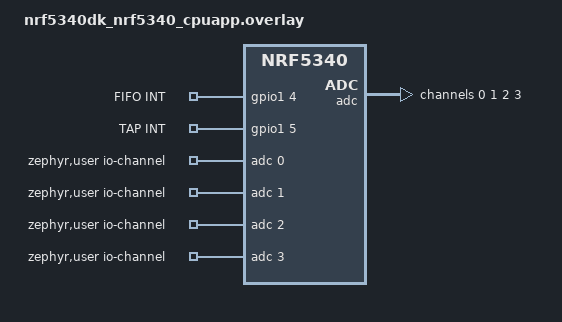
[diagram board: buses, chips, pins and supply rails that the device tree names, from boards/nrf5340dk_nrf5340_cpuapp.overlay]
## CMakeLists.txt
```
#
# Copyright (c) 2018 Nordic Semiconductor
#
# SPDX-License-Identifier: LicenseRef-Nordic-5-Clause
#
cmake_minimum_required(VERSION 3.20.0)

find_package(Zephyr REQUIRED HINTS $ENV{ZEPHYR_BASE})
project(imu_adc_led_ble_nus)

# NORDIC SDK APP START
target_sources(app PRIVATE
  src/main.c
  src/lsm6dsv16x_reg.c
  src/lis2mdl_reg.c
  src/imu_sensor.c
  src/analog_sensor.c
  src/ble_nus_cmd.c
)
# NORDIC SDK APP END

zephyr_library_include_directories(.)
```

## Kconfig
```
#
# Copyright (c) 2024
#

source "Kconfig.zephyr"

#----------------------------------------------------------------------------#
menu "Log levels"

module = ANALOG_SENSOR
module-str = analog-sensor
source "subsys/logging/Kconfig.template.log_config"

module = IMU_SENSOR
module-str = imu-sensor
source "subsys/logging/Kconfig.template.log_config"

module = BLE_NUS_CMD
module-str = ble-nus-cmd
source "subsys/logging/Kconfig.template.log_config"

module = IMU_LED_BLE
module-str = imu-led-ble
source "subsys/logging/Kconfig.template.log_config"



endmenu # Log levels
```

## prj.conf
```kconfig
#
# Copyright (c) 2024
#

# Disable the serial driver
CONFIG_SERIAL=n

# Enable GPIO, I2C and ADC
CONFIG_GPIO=y
CONFIG_I2C=y
CONFIG_ADC=y
CONFIG_PM_DEVICE=y

# Support for FLOAT
CONFIG_PICOLIBC_IO_FLOAT=y

# BLE configuration
CONFIG_BT=y
CONFIG_BT_SMP=y
CONFIG_BT_PERIPHERAL=y
CONFIG_BT_DEVICE_NAME="IMU_ADC_LED"
CONFIG_BT_DEVICE_APPEARANCE=833
CONFIG_BT_MAX_CONN=1
CONFIG_BT_MAX_PAIRED=1

# Enable the NUS service
CONFIG_BT_NUS=y

CONFIG_BT_CONN_TX_MAX=10
CONFIG_BT_L2CAP_TX_BUF_COUNT=10
CONFIG_BT_L2CAP_TX_MTU=498
CONFIG_BT_BUF_ACL_TX_COUNT=10
CONFIG_BT_BUF_ACL_TX_SIZE=502
CONFIG_BT_BUF_ACL_RX_SIZE=502
CONFIG_BT_PRIVACY=y
CONFIG_BT_GAP_AUTO_UPDATE_CONN_PARAMS=n
CONFIG_BT_CTLR_DATA_LENGTH_MAX=251
CONFIG_BT_CONN_PARAM_UPDATE_TIMEOUT=300
CONFIG_BT_USER_PHY_UPDATE=y
CONFIG_BT_GATT_CLIENT=y
CONFIG_BT_USER_DATA_LEN_UPDATE=y
CONFIG_BT_SMP_ALLOW_UNAUTH_OVERWRITE=y
CONFIG_BT_ID_UNPAIR_MATCHING_BONDS=y

# Enable bonding
CONFIG_BT_SETTINGS=y
CONFIG_FLASH=y
CONFIG_FLASH_PAGE_LAYOUT=y
CONFIG_FLASH_MAP=y
CONFIG_NVS=y
CONFIG_SETTINGS=y

# BLE uses ECB peripheral directly
CONFIG_CRYPTO=n
CONFIG_CRYPTO_NRF_ECB=n

# Enable DK LED and Buttons library
CONFIG_DK_LIBRARY=y

# This example requires more stack
CONFIG_MAIN_STACK_SIZE=1152
CONFIG_SYSTEM_WORKQUEUE_STACK_SIZE=2048
CONFIG_HEAP_MEM_POOL_SIZE=2048

# For test only, remove it later
CONFIG_TEST_RANDOM_GENERATOR=y
```

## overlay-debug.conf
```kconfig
#
# Copyright (c) 2024
#
# Debug configuration

# Logging
CONFIG_LOG=y
CONFIG_LOG_MODE_DEFERRED=n
CONFIG_LOG_MODE_IMMEDIATE=y
CONFIG_USE_SEGGER_RTT=y
CONFIG_CONSOLE=y
CONFIG_UART_CONSOLE=n
CONFIG_RTT_CONSOLE=y
CONFIG_LOG_BACKEND_RTT=y
CONFIG_LOG_BACKEND_UART=n
CONFIG_LOG_PRINTK=n

# Troubleshooting
CONFIG_ASSERT=y
CONFIG_RESET_ON_FATAL_ERROR=n
```

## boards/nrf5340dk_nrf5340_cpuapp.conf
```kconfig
#
# Copyright (c) 2024
#
################################################################################
# Application overlay - DFU

CONFIG_NCS_SAMPLE_MCUMGR_BT_OTA_DFU=y

CONFIG_SYSTEM_WORKQUEUE_STACK_SIZE=4096

################################################################################
```

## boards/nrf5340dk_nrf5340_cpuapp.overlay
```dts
/*
 * Copyright (c) 2024
 */
 
/ {
	aliases {
		fifo-int = &lsm6dsvint1;
		tap-int  = &lsm6dsvint2;		
	};
}; 

/ {
	lsm6dsv_int {
		compatible = "gpio-keys";
		lsm6dsvint1: lsm6dsv_int1 {
			gpios = <&gpio1 4 (GPIO_PULL_DOWN | GPIO_ACTIVE_HIGH)>;
			label = "FIFO INT";			
		};
		lsm6dsvint2: lsm6dsv_int2 {
			gpios = <&gpio1 5 (GPIO_PULL_DOWN | GPIO_ACTIVE_HIGH)>;
			label = "TAP INT";			
		};		
	};
};	

/ {
	zephyr,user {
		io-channels = <&adc 0>, <&adc 1>, <&adc 2>, <&adc 3>;
	};
};

&adc {
	#address-cells = <1>;
	#size-cells = <0>;

	channel@0 {
		reg = <0>;
		zephyr,gain = "ADC_GAIN_1_6";
		zephyr,reference = "ADC_REF_INTERNAL";
		zephyr,acquisition-time = <ADC_ACQ_TIME_DEFAULT>;
		zephyr,input-positive = <NRF_SAADC_AIN0>; /* P0.04 */
		zephyr,resolution = <12>;
	};

	channel@1 {
		reg = <1>;
		zephyr,gain = "ADC_GAIN_1_6";
		zephyr,reference = "ADC_REF_INTERNAL";
		zephyr,acquisition-time = <ADC_ACQ_TIME_DEFAULT>;
		zephyr,input-positive = <NRF_SAADC_AIN1>; /* P0.05 */
		zephyr,resolution = <12>;		
	};

	channel@2 {
		reg = <2>;
		zephyr,gain = "ADC_GAIN_1_6";
		zephyr,reference = "ADC_REF_INTERNAL";
		zephyr,acquisition-time = <ADC_ACQ_TIME_DEFAULT>;
		zephyr,input-positive = <NRF_SAADC_AIN2>; /* P0.06 */
		zephyr,resolution = <12>;
	};

	channel@3 {
		reg = <3>;
		zephyr,gain = "ADC_GAIN_1_6";
		zephyr,reference = "ADC_REF_INTERNAL";
		zephyr,acquisition-time = <ADC_ACQ_TIME_DEFAULT>;
		zephyr,input-positive = <NRF_SAADC_AIN3>; /* P0.07 */
		zephyr,resolution = <12>;		
	};
};
```

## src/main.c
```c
/*
 * Copyright (c) 2024
 */

/** @file
 *  @brief Application does the following
 *         - detect IMU sensor events, 
 *         - sample and process analog signals
 *         - control leds on board via BLE commands
 *         - configure imu on board via BLE commands
 *         - Send imu sensor events with raw data, analog signals raw data, led status 
 */


#include <zephyr/types.h>
#include <zephyr/kernel.h>
#include <zephyr/device.h>
#include <zephyr/devicetree.h>
#include <zephyr/sys/util_macro.h>
#include <zephyr/sys/__assert.h>
#include <soc.h>
#include <stdio.h>
#include <zephyr/drivers/gpio.h>
#include <dk_buttons_and_leds.h>

#include "ble_nus_cmd.h"
#include "imu_sensor.h"
#include "analog_sensor.h"


#include <zephyr/logging/log.h>
LOG_MODULE_REGISTER(imu_led_ble, CONFIG_IMU_LED_BLE_LOG_LEVEL);

// Set it to 1 to test without IMU sensor
#define IMU_SIMULATION             0

#if IMU_SIMULATION
#include <zephyr/random/rand32.h>
#endif


/* Private macro -------------------------------------------------------------*/
#if IMU_SIMULATION
/* IMU sensor interrupts mask */
#define IMU_SENSOR_INT1            DK_BTN1_MSK
#define IMU_SENSOR_INT2            DK_BTN2_MSK
#else
	
/*
 * Get interrupt configuration from the devicetree alias. This is mandatory.
 */
#define FIFO_INT	DT_ALIAS(fifo_int)
#if !DT_NODE_HAS_STATUS(FIFO_INT, okay)
#error "Unsupported board: fifo-int devicetree alias is not defined"
#endif

#define TAP_INT	DT_ALIAS(tap_int)
#if !DT_NODE_HAS_STATUS(TAP_INT, okay)
#error "Unsupported board: tap-int devicetree alias is not defined"
#endif

static const struct gpio_dt_spec fifo_int = GPIO_DT_SPEC_GET_OR(FIFO_INT, gpios, {0});
static struct gpio_callback fifo_int_cb_data;

static const struct gpio_dt_spec tap_int = GPIO_DT_SPEC_GET_OR(TAP_INT, gpios, {0});
static struct gpio_callback tap_int_cb_data;

#endif


// Analog signals are sampled at 100 Hz, which would be 10 milli seconds
#define ANALOG_SAMPLE_INTERVAL         10 // change it to 10 after IMU tests

/* command that will turn on/off led. 
 * command syntax --> led:1111 will turn on all leds
 * command syntax --> led:0000 will turn off all leds 
 * command syntax --> led:0101 will turn on leds 1 and 3 and turn off leds 2 and 4
 * command syntax --> led:1010 will turn on leds 2 and 4 and turn off leds 1 and 3
*/
#define COMMAND_LED               "led:"
#define LED_CMD_LEN                4

/* command that will configure tap. */
#define COMMAND_TAP               "tap:"
#define TAP_CMD_LEN                16

/* Private variables ---------------------------------------------------------*/
static bool led_state[LED_CMD_LEN];

static int16_t *datax;
static int16_t *datay;
static int16_t *dataz;
static int32_t *ts;

static uint16_t adc_raw[4];


static uint8_t tx_ble_buffer[CONFIG_BT_L2CAP_TX_MTU];

static uint8_t led_cmd_data[LED_CMD_LEN];
static uint8_t tap_cmd_data[TAP_CMD_LEN];

static void analog_sample_work_handler(struct k_work *work);
static void imu_tap_detected_work_handler(struct k_work *work);
static void imu_data_ready_work_handler(struct k_work *work);

static K_WORK_DELAYABLE_DEFINE(analog_sample_work, analog_sample_work_handler);
static K_WORK_DEFINE(imu_tap_detected_work, imu_tap_detected_work_handler);
static K_WORK_DEFINE(imu_data_ready_work, imu_data_ready_work_handler);

void error(void)
{
	__ASSERT_NO_MSG(NULL);
}



static void led_cmd(struct k_work *item)
{
	int ret;
	struct nus_entry *nus_cmd = CONTAINER_OF(item, struct nus_entry, work);
	
	memset(tx_ble_buffer, 0, sizeof(tx_ble_buffer));  
	
	if(strlen(nus_cmd->cmd_data) != LED_CMD_LEN) {
		
		sprintf((char *)tx_ble_buffer, "Invalid command length\r\n");
		goto tx_ble;	
		
	} else {
		
		if(((nus_cmd->cmd_data[0] != '0') && (nus_cmd->cmd_data[0] != '1')) ||
		   ((nus_cmd->cmd_data[1] != '0') && (nus_cmd->cmd_data[1] != '1')) ||
		   ((nus_cmd->cmd_data[2] != '0') && (nus_cmd->cmd_data[2] != '1')) ||
		   ((nus_cmd->cmd_data[3] != '0') && (nus_cmd->cmd_data[3] != '1'))) {
			   
		    sprintf((char *)tx_ble_buffer, "Invalid command argument\r\n");
		    goto tx_ble;
			
		} else {
			
			for(uint8_t idx = 0; idx < LED_CMD_LEN; idx++) {
				
				if((nus_cmd->cmd_data[idx] == '0')) {
					ret = dk_set_led_off(idx);
					if(ret) {
						LOG_ERR("Cannot turn off led%d (err: %d)", idx, ret);
						break;
					} else {
						led_state[idx] = false;	
					}
				} else {
					ret = dk_set_led_on(idx);
					if(ret) {
						LOG_ERR("Cannot turn on led%d (err: %d)", idx, ret);
						break;
					} else {
						led_state[idx] = true;	
					}
				}
				
			}
			
			if(ret == 0) {
				sprintf((char *)tx_ble_buffer, "LED command success\r\n");
			} else {
				sprintf((char *)tx_ble_buffer, "LED command failure\r\n");
			}
		    		
		}
	}
				
	
tx_ble:
	LOG_INF("BLE Tx data : %s", tx_ble_buffer);	
		
	ret = ble_send(tx_ble_buffer, strlen(tx_ble_buffer));
	if (ret) {
		LOG_ERR("Cannot send led command status via BLE");	
	}		
		
}



static void tap_cmd(struct k_work *item)
{
	ARG_UNUSED(item);
	
}

static struct nus_entry commands[] = {
	NUS_COMMAND(COMMAND_LED, led_cmd_data, led_cmd),	
	NUS_COMMAND(COMMAND_TAP, tap_cmd_data, tap_cmd),
	NUS_COMMAND(NULL, NULL, NULL),
};


static void analog_sample_work_handler(struct k_work *work)
{
	int ret = 0;
	
	
	/* Start ADC */
	ret = analog_read();
	if (ret) {
		LOG_ERR("Cannot read analog signals(err: %d)", ret);		
	} else {
		for(uint8_t i = 0; i < 4; i++) {
			ret = analog_get_raw(i, &adc_raw[i]);
			if (ret) {
				LOG_ERR("Cannot get raw analog values(err: %d)", ret);
				break;
			}
		}
	}
	
	
		
	if(!ret) {		
			
		memset(tx_ble_buffer, 0, sizeof(tx_ble_buffer));  
		sprintf((char *)tx_ble_buffer, "ADC:A1=%d,A2=%d,A3=%d,A4=%d\r\nLED:L1=%d,L2=%d,L3=%d,L4=%d\r\n",
      	adc_raw[0],adc_raw[1],adc_raw[2],adc_raw[3],led_state[0],led_state[1],led_state[2],led_state[3]);
				
		LOG_INF("BLE Tx data : %s", tx_ble_buffer);	
			
		ret = ble_send(tx_ble_buffer, strlen(tx_ble_buffer));	
		if (ret) {
			LOG_ERR("Cannot send ADC/LED data via BLE");	
		}		
	}

	k_work_reschedule(k_work_delayable_from_work(work), K_MSEC(ANALOG_SAMPLE_INTERVAL));
}


static void on_nus_connect(struct k_work *item)
{
	ARG_UNUSED(item);	

	
	
#if !(IMU_SIMULATION)

	gpio_pin_interrupt_configure_dt(&tap_int, GPIO_INT_EDGE_TO_ACTIVE);
	gpio_pin_interrupt_configure_dt(&fifo_int, GPIO_INT_EDGE_TO_ACTIVE);
	

	/* IMU out of low power mode */
	int ret = imu_set_low_power(false);
	if (ret) {
		LOG_ERR("Cannot get IMU out of low power(err: %d)", ret);		
	}
#endif	
	
	
	/* Schedule analog signal processing */
	k_work_schedule(&analog_sample_work, K_MSEC(ANALOG_SAMPLE_INTERVAL));
		
}

static void on_nus_disconnect(struct k_work *item)
{
	ARG_UNUSED(item);

	
#if !(IMU_SIMULATION)
	/* set IMU in low power mode */
	int ret = imu_set_low_power(true);
	if (ret) {
		LOG_ERR("Cannot put IMU in low power(err: %d)", ret);		
	}
	
	gpio_pin_interrupt_configure_dt(&fifo_int, GPIO_INT_DISABLE);
	gpio_pin_interrupt_configure_dt(&tap_int, GPIO_INT_DISABLE);
	
#endif	

	/* cancel analog signal processing */
	k_work_cancel_delayable(&analog_sample_work);

		
}

static void imu_tap_detected_work_handler(struct k_work *work)
{
  ARG_UNUSED(work);
  int ret = 0;
  lsm6dsv16x_all_sources_t status;

  /* cancel analog signal processing */
  k_work_cancel_delayable(&analog_sample_work);

  #if !(IMU_SIMULATION)
  /* Read output only if new xl value is available */
  ret = lsm6dsv16x_all_sources_get(&lsm6dsv16x_ctx, &status);
  if (ret) {
	LOG_ERR("Cannot get interrupt source(err: %d)", ret);	
  } else 
  #else
  static bool test_tap = true;	  
  if(test_tap) {
	status.single_tap = 1;
	status.double_tap = 0;
	test_tap = false;
  } else {
	status.single_tap = 0;  
	status.double_tap = 1;
	test_tap = true;
  }
  #endif
  
  {
	  
	memset(tx_ble_buffer, 0, sizeof(tx_ble_buffer));

	if (status.single_tap) {
		sprintf((char *)tx_ble_buffer, "TAP:Single\r\n");
	}
	if (status.double_tap) {
		sprintf((char *)tx_ble_buffer, "TAP:Double\r\n");
	}
	 	  
	LOG_INF("BLE Tx data : %s", tx_ble_buffer);	
	 	  
	ret = ble_send(tx_ble_buffer, strlen(tx_ble_buffer));
	if (ret) {
		LOG_ERR("Cannot send TAP data via BLE(err: %d)", ret);	
	}
	  
  }
  	  
  #if !(IMU_SIMULATION)  
  gpio_pin_interrupt_configure_dt(&tap_int, GPIO_INT_EDGE_TO_ACTIVE);
  #endif
  
  /* Schedule analog signal processing */
  k_work_schedule(&analog_sample_work, K_MSEC(0));
  
  
}

static void imu_data_ready_work_handler(struct k_work *work)
{
  ARG_UNUSED(work);
  int ret = 0;
  uint16_t num = 0;
  lsm6dsv16x_fifo_status_t fifo_status;
  bool tx_data = false;
  
  static bool what_the_tap = true;
  lsm6dsv16x_all_sources_t status;
  if(what_the_tap) {
	  what_the_tap = false;
	  lsm6dsv16x_all_sources_get(&lsm6dsv16x_ctx, &status);
  }
  
  
  /* cancel analog signal processing */
  k_work_cancel_delayable(&analog_sample_work);

#if !(IMU_SIMULATION)
  /* Read watermark flag */
  ret = lsm6dsv16x_fifo_status_get(&lsm6dsv16x_ctx, &fifo_status);
  if (ret) {
	LOG_ERR("Cannot get FIFO status(err: %d)", ret);	
  } else 
#else
  fifo_status.fifo_level = 16;
#endif	

  {
	num = fifo_status.fifo_level;
	LOG_INF("FIFO num: %d", num);
	    
	memset(tx_ble_buffer, 0, sizeof(tx_ble_buffer));

	while (num--) {
		lsm6dsv16x_fifo_out_raw_t f_data;

		#if !(IMU_SIMULATION)
		/* Read FIFO sensor value */
		ret = lsm6dsv16x_fifo_out_raw_get(&lsm6dsv16x_ctx, &f_data);
		if (ret) {
			LOG_ERR("Cannot get FIFO raw data for the fifo entry %d (err: %d)", (num + 1), ret);		
		}
		#else
		size_t data_length = 6;
		uint8_t idx = 0;
		
		idx = ((num + 1) % 4);
		if(idx== 0) {
			f_data.tag = LSM6DSV16X_TIMESTAMP_TAG;	
			data_length = 4;
		} else if(idx== 3) {
			f_data.tag = LSM6DSV16X_XL_NC_TAG;
		} else if(idx== 2) {
			f_data.tag = LSM6DSV16X_GY_NC_TAG;
		} else {
			f_data.tag = LSM6DSV16X_SENSORHUB_SLAVE0_TAG;
		}
		
		sys_rand_get(&f_data.data[0], data_length);	
		#endif
			
		datax = (int16_t *)&f_data.data[0];
		datay = (int16_t *)&f_data.data[2];
		dataz = (int16_t *)&f_data.data[4];
		ts = (int32_t *)&f_data.data[0];
		
		LOG_INF("TAG %02x", f_data.tag);  

		switch (f_data.tag) {
		case LSM6DSV16X_XL_NC_TAG:
		  #if 1
		  sprintf((char *)&tx_ble_buffer[strlen(tx_ble_buffer)], "ACC[mg]:x:%4.2f,y:%4.2f,z:%4.2f,",
				  lsm6dsv16x_from_fs2_to_mg(*datax),
				  lsm6dsv16x_from_fs2_to_mg(*datay),
				  lsm6dsv16x_from_fs2_to_mg(*dataz));    
		  #else
		  sprintf((char *)&tx_ble_buffer[strlen(tx_ble_buffer)], "ACC:x:%d,y:%d,z:%d,",
				  *datax,*datay,*dataz);  
		  #endif
		  break;
		case LSM6DSV16X_GY_NC_TAG:
		  #if 1
		  sprintf((char *)&tx_ble_buffer[strlen(tx_ble_buffer)], "GYRO[mdps]:x:%4.2f,y:%4.2f,z:%4.2f,",
				  lsm6dsv16x_from_fs2000_to_mdps(*datax),
				  lsm6dsv16x_from_fs2000_to_mdps(*datay),
				  lsm6dsv16x_from_fs2000_to_mdps(*dataz));	
		  #else
		  sprintf((char *)&tx_ble_buffer[strlen(tx_ble_buffer)], "GYRO:x:%d,y:%d,z:%d,",
				  *datax,*datay,*dataz); 	  
		  #endif			  
		  break;  
		case LSM6DSV16X_TIMESTAMP_TAG:	  
		  sprintf((char *)tx_ble_buffer, "T[ms]:%d,", *ts);
		  break;
		case LSM6DSV16X_SENSORHUB_SLAVE0_TAG:
		  #if 1
		  sprintf((char *)&tx_ble_buffer[strlen(tx_ble_buffer)], "LIS2MDL[mGa]:x:%4.2f,y:%4.2f,z:%4.2f\r\n",
				  lis2mdl_from_lsb_to_mgauss(*datax),
				  lis2mdl_from_lsb_to_mgauss(*datay),
				  lis2mdl_from_lsb_to_mgauss(*dataz));	
		  #else
		  sprintf((char *)&tx_ble_buffer[strlen(tx_ble_buffer)], "MAG:x:%d,y:%d,z:%d\r\n",
				  *datax,*datay,*dataz);  		  
		  #endif	

		  tx_data = true;	  
		  break;
	  
		default:
		  LOG_ERR("Invalid TAG %02x", f_data.tag);  
		  break;
		}
		
		if(tx_data) {	
		
			tx_data = false;		
			LOG_INF("BLE Tx data : %s", tx_ble_buffer);				  
		  
			ret = ble_send(tx_ble_buffer, strlen((char const *)tx_ble_buffer));
			if (ret) {
				LOG_ERR("Cannot send IMU data via BLE");	            
			}
						
			memset(tx_ble_buffer, 0, sizeof(tx_ble_buffer));				
		}
			
	}
  }

#if !(IMU_SIMULATION)  
  imu_enable_fifo_mode();  
  gpio_pin_interrupt_configure_dt(&fifo_int, GPIO_INT_EDGE_TO_ACTIVE);
#endif
  
  /* Schedule analog signal processing */
  k_work_schedule(&analog_sample_work, K_MSEC(0));
          
}

#if (IMU_SIMULATION)
void button_interrupt_handler(uint32_t interrupt_state, uint32_t has_changed)
{
	if (IMU_SENSOR_INT1 & has_changed) {
		if (IMU_SENSOR_INT1 & interrupt_state) {
			/* Interrupt 1 low */
			/* Submit IMU data ready work */					
			k_work_submit(&imu_data_ready_work);
		} 		
	}
	
	if (IMU_SENSOR_INT2 & has_changed) {
		if (IMU_SENSOR_INT2 & interrupt_state) {
			/* Interrupt 2 low */			
			/* Submit IMU tap detection work */			
			k_work_submit(&imu_tap_detected_work);
		}
	}
	
}	
#else
static void fifo_int_callback(const struct device *dev, struct gpio_callback *cb, uint32_t pins)
{

	ARG_UNUSED(dev);
	ARG_UNUSED(cb);
	ARG_UNUSED(pins);

	gpio_pin_interrupt_configure_dt(&fifo_int, GPIO_INT_DISABLE);

	/* Submit IMU data ready work */					
	k_work_submit(&imu_data_ready_work);
}

static void tap_int_callback(const struct device *dev, struct gpio_callback *cb, uint32_t pins)
{

	ARG_UNUSED(dev);
	ARG_UNUSED(cb);
	ARG_UNUSED(pins);


	gpio_pin_interrupt_configure_dt(&tap_int, GPIO_INT_DISABLE);


	/* Submit IMU tap detection work */			
	k_work_submit(&imu_tap_detected_work);
}	



int imu_interrupts_init(void)
{
	int ret;
	
	/* setup FIFO gpio interrupt (INT1) */
	if (!gpio_is_ready_dt(&fifo_int)) {
		LOG_ERR("Cannot get pointer to fifo_int device");
		return -EINVAL;
	}

	ret = gpio_pin_configure_dt(&fifo_int, GPIO_INPUT);
	if (ret < 0) {
		LOG_ERR("Could not configure fifo_int pin");
		return ret;
	}
	
	ret =  gpio_pin_interrupt_configure_dt(&fifo_int, GPIO_INT_EDGE_TO_ACTIVE);
	if (ret < 0) {
		LOG_ERR("Could not configure fifo_int");
		return ret;
	}

	gpio_init_callback(&fifo_int_cb_data, fifo_int_callback,  BIT(fifo_int.pin));
	if (gpio_add_callback(fifo_int.port, &fifo_int_cb_data) < 0) {
		LOG_ERR("Could not set FIFO gpio callback");
		return -EIO;
	}
	
	/* setup TAP gpio interrupt (INT2) */
	if (!gpio_is_ready_dt(&tap_int)) {
		LOG_ERR("Cannot get pointer to tap_int device");
		return -EINVAL;
	}

	ret = gpio_pin_configure_dt(&tap_int, GPIO_INPUT);
	if (ret < 0) {
		LOG_ERR("Could not configure tap_int pin");
		return ret;
	}
	
	ret =  gpio_pin_interrupt_configure_dt(&tap_int, GPIO_INT_EDGE_TO_ACTIVE);
	if (ret < 0) {
		LOG_ERR("Could not configure tap_int");
		return ret;
	}

	gpio_init_callback(&tap_int_cb_data, tap_int_callback,  BIT(tap_int.pin));
	if (gpio_add_callback(tap_int.port, &tap_int_cb_data) < 0) {
		LOG_ERR("Could not set TAP gpio callback");
		return -EIO;
	}
	
	return ret;
	
}
#endif

int main(void)
{

	int err = 0;

	/* Initialize LEDs */
	err = dk_leds_init();
	if (err) {
		LOG_ERR("Cannot init LEDs (err: %d)", err);
		error();
	}
	
	#if (IMU_SIMULATION)
	/* Reuse DK button library to handle IMU sensor interrupts */
	err = dk_buttons_init(button_interrupt_handler);	
	#else
	err = imu_interrupts_init();	
	#endif
	if (err) {
		LOG_ERR("Cannot init IMU interrupts (err: %d)", err);
		error();
	}

		

#if !(IMU_SIMULATION)
	/* Initialize IMU sensor */
	err = imu_init();
	if (err) {
		error();
	}
#endif
	
	/* Initialize ADC to sample and process analog signals */
	err = analog_init();
	if (err) {
		error();
	}

	
	
#if !(IMU_SIMULATION)
	/* Set IMU in low power mode */
	err = imu_set_low_power(true);
	if (err) {
		error();
	}

	gpio_pin_interrupt_configure_dt(&fifo_int, GPIO_INT_DISABLE);
	gpio_pin_interrupt_configure_dt(&tap_int, GPIO_INT_DISABLE);
#endif

	/* Initialize NUS command service. */
	err = nus_cmd_init(on_nus_connect, on_nus_disconnect, commands);
	if (err) {
		error();
	}

	LOG_INF("Firmware Init status OK");
	
   /* Sleep forver */
	while (1) {
		k_sleep(K_FOREVER);
	}
}

	
```

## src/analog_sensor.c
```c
/*
 * Copyright (c) 2024
 */
 
#include <inttypes.h>
#include <stddef.h>
#include <stdint.h>

#include <zephyr/device.h>
#include <zephyr/devicetree.h>
#include <zephyr/drivers/adc.h>
#include <zephyr/kernel.h>
#include <zephyr/sys/printk.h>
#include <zephyr/sys/util.h>

#include "analog_sensor.h"

#include <zephyr/logging/log.h>
LOG_MODULE_REGISTER(analog_sensor, CONFIG_ANALOG_SENSOR_LOG_LEVEL);


#if !DT_NODE_EXISTS(DT_PATH(zephyr_user)) || \
	!DT_NODE_HAS_PROP(DT_PATH(zephyr_user), io_channels)
#error "No suitable devicetree overlay specified"
#endif

#define DT_SPEC_AND_COMMA(node_id, prop, idx) \
	ADC_DT_SPEC_GET_BY_IDX(node_id, idx),

/* Data of ADC io-channels specified in devicetree. */
static const struct adc_dt_spec adc_channels[] = {
	DT_FOREACH_PROP_ELEM(DT_PATH(zephyr_user), io_channels,
			     DT_SPEC_AND_COMMA)
};

static uint16_t adc_raw_channel[ARRAY_SIZE(adc_channels)];

int analog_init(void)
{
	int err;
	
	/* Configure channels individually prior to sampling. */
	for (size_t i = 0U; i < ARRAY_SIZE(adc_channels); i++) {
		if (!adc_is_ready_dt(&adc_channels[i])) {
			LOG_ERR("ADC controller device %s not ready", adc_channels[i].dev->name);
			return -ENODEV;
		}

		err = adc_channel_setup_dt(&adc_channels[i]);
		if (err < 0) {
			LOG_ERR("Could not setup channel #%d (%d)", i, err);
			return err;
		}
	}

	
	return 0;
}


int analog_read(void)
{
	int err;
	uint16_t buf;
	struct adc_sequence sequence = {
		.buffer = &buf,
		/* buffer size in bytes, not number of samples */
		.buffer_size = sizeof(buf),
	};
	
	LOG_INF("ADC reading");
	for (size_t i = 0U; i < ARRAY_SIZE(adc_channels); i++) {
		

		LOG_INF("- %s, channel %d: ",
			   adc_channels[i].dev->name,
			   adc_channels[i].channel_id);

		(void)adc_sequence_init_dt(&adc_channels[i], &sequence);

		err = adc_read(adc_channels[i].dev, &sequence);
		if (err < 0) {
			LOG_ERR("Could not read (%d)", err);
			break;
		} else {		
			adc_raw_channel[i] = buf;
			LOG_INF("raw %u", adc_raw_channel[i]);
		}
	}
		
	return err;

}

int analog_get_raw(uint16_t channel_idx, uint16_t *data_raw)
{
	int err = 0; 
	
	if((channel_idx >= 0) && (channel_idx <= 3)) {		
		*data_raw =  adc_raw_channel[channel_idx];
	} else {
		LOG_ERR("Invalid channel index");
		*data_raw = 0;
		err = -EINVAL;
	}
	
	return err;
}
```

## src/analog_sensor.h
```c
/*
 * Copyright (c) 2024
 */

/**
 * @file analog_sensor.h
 *
 * @brief APIs for Analog Sensor.
 */

#ifndef __ANALOG_SENSOR_H__
#define __ANALOG_SENSOR_H__



/**@brief Function to initialise ADC.
 *
 * @param[out] 0 if success, error code otherwise.
 */
int analog_init(void);

/**@brief Function to read Analog signals.
 *
 * @param[out] 0 if success, error code otherwise.
 */
int analog_read(void);

/**@brief Function to read Analog signals.
 *
 * @param[in] channel_idx data to be transmitted over BLE.
 * @param[in] data_raw length of BLE data.
 * @param[out] 0 if success, error code otherwise.
 */

int analog_get_raw(uint16_t channel_idx, uint16_t *data_raw);

#endif
```

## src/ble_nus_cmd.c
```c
/*
 * Copyright (c) 2024
 */
 
#include <zephyr/kernel.h>
#include <zephyr/bluetooth/gatt.h>
#include <zephyr/bluetooth/hci.h>
#include <zephyr/bluetooth/uuid.h>
#include <bluetooth/services/nus.h>
#include <zephyr/logging/log.h>
#include <zephyr/settings/settings.h>

#include "ble_nus_cmd.h"

#include <zephyr/logging/log.h>
LOG_MODULE_REGISTER(ble_nus_cmd, CONFIG_BLE_NUS_CMD_LOG_LEVEL);

#define DEVICE_NAME        CONFIG_BT_DEVICE_NAME
#define DEVICE_NAME_LEN    (sizeof(DEVICE_NAME) - 1)


#define INTERVAL_MIN  15 
#define INTERVAL_MAX  15 



static void connected(struct bt_conn *conn, uint8_t err);
static void disconnected(struct bt_conn *conn, uint8_t reason);
static void le_phy_updated(struct bt_conn *conn, struct bt_conn_le_phy_info *param);
static void conn_params_updated(struct bt_conn *conn, uint16_t interval, uint16_t latency, uint16_t timeout);
static void le_data_length_updated(struct bt_conn *conn, struct bt_conn_le_data_len_info *info);
static void auth_passkey_display(struct bt_conn *conn, unsigned int passkey);
static void auth_cancel(struct bt_conn *conn);
static void pairing_complete(struct bt_conn *conn, bool bonded);
static void pairing_failed(struct bt_conn *conn, enum bt_security_err reason);
static void __attribute__((unused))
security_changed(struct bt_conn *conn, bt_security_t level,
		 enum bt_security_err err);

static struct bt_conn_auth_cb conn_auth_callbacks = {
	.passkey_display = auth_passkey_display,
	.cancel = auth_cancel,
};

static struct bt_conn_auth_info_cb conn_auth_info_callbacks = {
	.pairing_complete = pairing_complete,
	.pairing_failed = pairing_failed
};

static struct bt_conn_cb conn_callbacks = {
	.connected = connected,
	.disconnected = disconnected,
	.le_param_updated= conn_params_updated,
	.le_phy_updated = le_phy_updated,
	.le_data_len_updated = le_data_length_updated,
	COND_CODE_1(CONFIG_BT_SMP, (.security_changed = security_changed), ())
};

static const struct bt_data ad[] = {
	BT_DATA_BYTES(BT_DATA_FLAGS, (BT_LE_AD_GENERAL | BT_LE_AD_NO_BREDR)),
	BT_DATA(BT_DATA_NAME_COMPLETE, DEVICE_NAME, DEVICE_NAME_LEN),
};

static const struct bt_data sd[] = {
	BT_DATA_BYTES(BT_DATA_UUID128_ALL, BT_UUID_NUS_VAL),
};

static struct bt_le_conn_param *conn_param = BT_LE_CONN_PARAM(INTERVAL_MIN, INTERVAL_MAX, 0, 400);

static struct k_work on_connect_work;
static struct k_work on_disconnect_work;
static struct bt_conn *current_conn;
static struct nus_entry *nus_commands;

static uint8_t payload_length = 0;
static bool nus_cccd_enabled = false;
static bool conn_param_updated = false;


static const char *phy2str(uint8_t phy)
{
	switch (phy) {
	case 0: return "No packets";
	case BT_GAP_LE_PHY_1M: return "LE 1M";
	case BT_GAP_LE_PHY_2M: return "LE 2M";
	case BT_GAP_LE_PHY_CODED: return "LE Coded";
	default: return "Unknown";
	}
}

static int update_connection_parameters(void)
{	
	int err;

	err = bt_conn_le_param_update(current_conn, conn_param);
	if (err) {
		LOG_ERR("Cannot update conneciton parameter (err: %d)", err);
		return err;
	}

	LOG_INF("Connection parameters update requested");
	return 0;
}


static void conn_params_updated(struct bt_conn *conn, uint16_t interval, uint16_t latency, uint16_t timeout)
{
	uint32_t interval_int = interval*1.25;
	LOG_INF("Conn params updated: interval %d ms, latency %d, timeout: %d0 ms",interval_int, latency, timeout);

	if (interval== INTERVAL_MIN) 
	{
		conn_param_updated = true;
	}
}

static void le_data_length_updated(struct bt_conn *conn,
				   struct bt_conn_le_data_len_info *info)
{
	LOG_INF("LE data len updated: TX (len: %d time: %d)"
	       " RX (len: %d time: %d)\n", info->tx_max_len,
	       info->tx_max_time, info->rx_max_len, info->rx_max_time);
	

}


static void MTU_exchange_cb(struct bt_conn *conn, uint8_t err, struct bt_gatt_exchange_params *params)
{
	if (!err) {
		LOG_INF("MTU exchange done. "); 
		payload_length = bt_gatt_get_mtu(current_conn)-3; //3 bytes ATT header
		LOG_WRN("MTU payload allowed %d", payload_length);
	} else {
		LOG_WRN("MTU exchange failed (err %" PRIu8 ")", err);
	}
}


static void request_mtu_exchange(void)
{	
	int err;
	static struct bt_gatt_exchange_params exchange_params;
	exchange_params.func = MTU_exchange_cb;

	err = bt_gatt_exchange_mtu(current_conn, &exchange_params);
	if (err) {
		LOG_WRN("MTU exchange failed (err %d)", err);
	} else {
		LOG_INF("MTU exchange pending");
	}	

}

static void request_data_len_update(void)
{
	int err;
	err = bt_conn_le_data_len_update(current_conn, BT_LE_DATA_LEN_PARAM_MAX);
	if (err) {
		LOG_ERR("LE data length update request failed: %d",  err);
	}
}


static void request_phy_update(void)
{
	int err;

	err = bt_conn_le_phy_update(current_conn, BT_CONN_LE_PHY_PARAM_2M);
		if (err) {
			LOG_ERR("Phy update request failed: %d",  err);
		}
}


static void le_phy_updated(struct bt_conn *conn,
			   struct bt_conn_le_phy_info *param)
{
	LOG_INF("LE PHY updated: TX PHY %s, RX PHY %s\n",
	       phy2str(param->tx_phy), phy2str(param->rx_phy));
}

static void connected(struct bt_conn *conn, uint8_t err)
{
	if (err) {
		LOG_ERR("Connection failed (err %u)", err);
		return;
	}

	LOG_INF("Connected");
	current_conn = bt_conn_ref(conn);
	
	// Delays added to avoid collision (in case the central also send request)
	// should be better with a state machine. 
	conn_param_updated = false;
	update_connection_parameters();
	k_sleep(K_MSEC(500));
	request_mtu_exchange();
	k_sleep(K_MSEC(500));
	request_data_len_update();
	k_sleep(K_MSEC(500));
	request_phy_update();

	k_work_submit(&on_connect_work);
}

static void disconnected(struct bt_conn *conn, uint8_t reason)
{
	LOG_INF("Disconnected (reason %u)", reason);

	if (current_conn) {
		bt_conn_unref(current_conn);
		current_conn = NULL;
		
		k_work_submit(&on_disconnect_work);
	}
	
	conn_param_updated = false;
}

static char *ble_addr(struct bt_conn *conn)
{
	static char addr[BT_ADDR_LE_STR_LEN];

	bt_addr_le_to_str(bt_conn_get_dst(conn), addr, sizeof(addr));

	return addr;
}

static void __attribute__((unused))
security_changed(struct bt_conn *conn, bt_security_t level,
		 enum bt_security_err err)
{
	char *addr = ble_addr(conn);

	if (!err) {
		LOG_INF("Security changed: %s level %u", addr, level);
	} else {
		LOG_INF("Security failed: %s level %u err %d", addr,
			level, err);
	}
}

static void auth_passkey_display(struct bt_conn *conn, unsigned int passkey)
{
	char *addr = ble_addr(conn);

	LOG_INF("Passkey for %s: %06u", addr, passkey);
}

static void auth_cancel(struct bt_conn *conn)
{
	char *addr = ble_addr(conn);

	LOG_INF("Pairing cancelled: %s", addr);
}

static void pairing_complete(struct bt_conn *conn, bool bonded)
{
	char *addr = ble_addr(conn);

	LOG_INF("Pairing completed: %s, bonded: %d", addr, bonded);
}

static void pairing_failed(struct bt_conn *conn, enum bt_security_err reason)
{
	char *addr = ble_addr(conn);

	LOG_INF("Pairing failed conn: %s, reason %d", addr, reason);
}

static int ble_utils_init(struct bt_nus_cb *nus_clbs,
			  nus_connection_cb_t on_connect,
			  nus_disconnection_cb_t on_disconnect)
{
	int ret;
	
	struct bt_le_adv_param *adv_param =
		BT_LE_ADV_PARAM(BT_LE_ADV_OPT_CONNECTABLE |
				BT_LE_ADV_OPT_USE_IDENTITY,
				BT_GAP_ADV_FAST_INT_MIN_2,
				BT_GAP_ADV_FAST_INT_MAX_2,
				NULL);
	
	k_work_init(&on_connect_work, on_connect);
	k_work_init(&on_disconnect_work, on_disconnect);

	bt_conn_cb_register(&conn_callbacks);

	if (IS_ENABLED(CONFIG_BT_SMP)) {
		ret = bt_conn_auth_cb_register(&conn_auth_callbacks);
		if (ret) {
			LOG_ERR("Failed to register authorization callbacks.");
			goto end;
		}

		ret = bt_conn_auth_info_cb_register(&conn_auth_info_callbacks);
		if (ret) {
			LOG_ERR("Failed to register authorization info callbacks.");
			goto end;
		}
	}

	ret = bt_enable(NULL);
	if (ret) {
		LOG_ERR("Bluetooth initialization failed (error: %d)", ret);
		goto end;
	}

	LOG_INF("Bluetooth initialized");

	if (IS_ENABLED(CONFIG_SETTINGS)) {
		settings_load();
	}

	ret = bt_nus_init(nus_clbs);
	if (ret) {
		LOG_ERR("Failed to initialize UART service (error: %d)", ret);
		goto end;
	}

	ret = bt_le_adv_start(adv_param, ad, ARRAY_SIZE(ad), sd,
			      ARRAY_SIZE(sd));
	if (ret) {
		LOG_ERR("Advertising failed to start (error: %d)", ret);
		goto end;
	}

end:
	return ret;
}

static void nus_command_handler(struct bt_conn *conn,
				const uint8_t *const data, uint16_t length)
{
	LOG_HEXDUMP_DBG(data, length, "NUS recv:");

	for (struct nus_entry *p = nus_commands; p->cmd != NULL; p++) {
		if ((length >= strlen(p->cmd)) &&
		    (!strncmp(p->cmd, (const char *)data, strlen(p->cmd)))) {
			LOG_INF("Matched cmd : %s", p->cmd);
			strcpy(p->cmd_data, (const char *)&data[strlen(p->cmd)]);
			LOG_INF("command data: %s", p->cmd_data);
			k_work_submit(&p->work);
			return;
		}
	}

	LOG_HEXDUMP_WRN(data, length, "Command unrecognized");
}

static void bt_send_enabled_cb(enum bt_nus_send_status status)
{
	if (status == BT_NUS_SEND_STATUS_ENABLED) 
	{
		nus_cccd_enabled = true;
		LOG_INF("CCCD enabled");
	}
	else{
		nus_cccd_enabled = false;
		LOG_INF("CCCD Disabled");
	}

}

int nus_cmd_init(nus_connection_cb_t on_connect,
		  nus_disconnection_cb_t on_disconnect,
		  struct nus_entry *command_set)
{
	int ret;
	
	struct bt_nus_cb nus_clbs = {
		.received = nus_command_handler,
		.send_enabled = bt_send_enabled_cb,
		.sent = NULL,
	};

	nus_commands = command_set;
	ret = ble_utils_init(&nus_clbs, on_connect, on_disconnect);;
	return ret;
}

int ble_send(uint8_t *buf, uint16_t len)
{
	int ret = 0;
	
	if((buf == NULL)  || (len == 0)) {
		LOG_ERR("Invalid buffer or buffer length");
		ret = -EINVAL;
		goto end;
	}
	
	if(nus_cccd_enabled) {
		
		if(conn_param_updated) {
			
			if(len > payload_length) {
				LOG_WRN("BLE data length %d exceeds allowed mtu length %d", len, payload_length);
				goto end;
			} else {
				LOG_WRN("BLE data length %d", len);
			}
			
			ret = bt_nus_send(NULL, buf, len);
			if (ret) {
				LOG_ERR("Failed to send data over BLE connection(error: %d)", ret);
				goto end;
			}
		} else {
			LOG_WRN("NUS Connection parameter not updated");
		}
		
	} else {
		LOG_WRN("NUS CCCD disabled");
	}
end:
	return ret;
}
```

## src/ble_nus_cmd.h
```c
/*
 * Copyright (c) 2024
 */

/**
 * @file ble_nus_cmd.h
 *
 * @brief APIs for BLE NUS Command Service.
 */

#ifndef __BLE_NUS_CMD_H__
#define __BLE_NUS_CMD_H__

/** @brief Type indicates function called when Bluetooth LE connection
 *         is established.
 *
 * @param[in] item pointer to work item.
 */
typedef void (*nus_connection_cb_t)(struct k_work *item);

/** @brief Type indicates function called when Bluetooth LE connection is ended.
 *
 * @param[in] item pointer to work item.
 */
typedef void (*nus_disconnection_cb_t)(struct k_work *item);


/** @brief BLE NUS command entry.
 */
struct nus_entry {
	const char *cmd;        /**< Command string. */
	char *cmd_data;         /**< Command data string. */
	struct k_work work;     /**< Command work item. */
};

/**@brief Macro to initialise (bind) command string to work handler.
 */
#define NUS_COMMAND(_cmd, _cmd_data, _handler)		      \
	{					                                  \
		.work = Z_WORK_INITIALIZER(_handler),             \
		.cmd = _cmd,			                          \
		.cmd_data = _cmd_data,			                  \
	}					                                  \

/**@brief Function to initialise NUS Command service.
 *
 * @param[in] on_connect Callback that will be called when central connects to
 *			 the NUS service.
 * @param[in] on_disconnect Callback that will be called when BLE central
 *			    disconnects from the NUS service. 
 * @param[in] command_set   A pointer to an array with NUS commands.
 * @param[out] 0 if success, error code otherwise.
 */
int nus_cmd_init(nus_connection_cb_t on_connect,
		  nus_disconnection_cb_t on_disconnect,
		  struct nus_entry *command_set);


/**@brief Function to send data over BLR NUS service.
 *
 * @param[in] buf data to be transmitted over BLE.
 * @param[in] len length of BLE data.
 * @param[out] 0 if success, error code otherwise.
 */		  
int ble_send(uint8_t *buf, uint16_t len);		  

#endif
```

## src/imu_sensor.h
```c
/*
 * Copyright (c) 2024
 */

/**
 * @file imu_sensor.h
 *
 * @brief APIs for IMU Sensor.
 */

#ifndef __IMU_SENSOR_H__
#define __IMU_SENSOR_H__

#include "lsm6dsv16x_reg.h"
#include "lis2mdl_reg.h"



/**@brief Function to initialise IMU sensor.
 *
 * @param[out] 0 if success, error code otherwise.
 */
int imu_init(void);

/**@brief Function to initialise IMU sensor.
 * 
 * @param[in] tap      tap detection.
 * @param[in] tap_ths  tap threshold.
 * @param[in] tap_win  tap window.
 * @param[in] tap_mode tap mode.
 * @param[out] 0 if success, error code otherwise.
 *
 */
int imu_tap_configure(lsm6dsv16x_tap_detection_t tap, 
					  lsm6dsv16x_tap_thresholds_t tap_ths,
					  lsm6dsv16x_tap_time_windows_t tap_win,
					  lsm6dsv16x_tap_mode_t tap_mode);


/**@brief Function to put IMU sensor in low power mode.
 *
 * @param[in] active    true = low power mode, false otherwise.
 * @param[out] 0 if success, error code otherwise.
 */

int imu_set_low_power(bool active);

int imu_enable_fifo_mode(void);

extern stmdev_ctx_t lsm6dsv16x_ctx;

#endif
```
